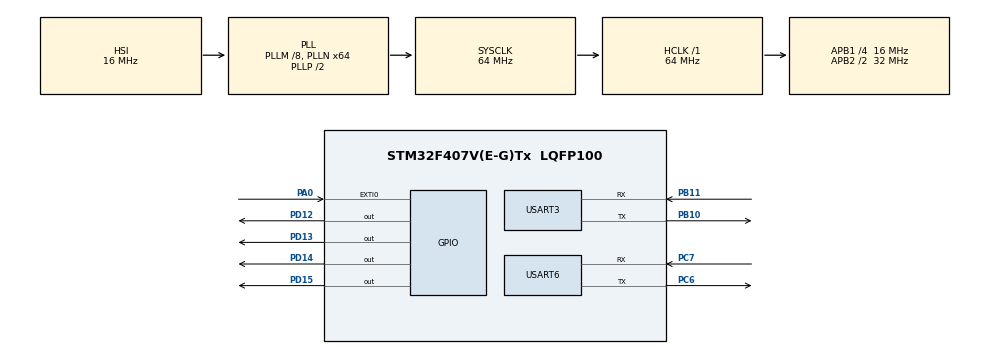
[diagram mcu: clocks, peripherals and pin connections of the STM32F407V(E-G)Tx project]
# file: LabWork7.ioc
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Mcu.Family=STM32F4
Mcu.Name=STM32F407V(E-G)Tx
Mcu.Package=LQFP100
NVIC.PriorityGroup=NVIC_PRIORITYGROUP_0
NVIC.TIM2_IRQn=true\:0\:0\:false\:true\:true\:3\:true\:true\:true
NVIC.USART3_IRQn=true\:0\:0\:false\:true\:true\:2\:true\:true\:true
NVIC.USART6_IRQn=true\:0\:0\:false\:true\:true\:1\:true\:true\:true
PA0-WKUP.Signal=GPXTI0
PB10.Mode=Asynchronous
PB10.Signal=USART3_TX
PB11.Mode=Asynchronous
PB11.Signal=USART3_RX
PC6.Mode=Asynchronous
PC6.Signal=USART6_TX
PC7.Mode=Asynchronous
PC7.Signal=USART6_RX
PD12.Signal=GPIO_Output
PD13.Signal=GPIO_Output
PD14.Signal=GPIO_Output
PD15.Signal=GPIO_Output
ProjectManager.HeapSize=0x200
ProjectManager.StackSize=0x400
ProjectManager.TargetToolchain=STM32CubeIDE
RCC.48MHZClocksFreq_Value=18285714.285714287
RCC.AHBFreq_Value=64000000
RCC.APB1CLKDivider=RCC_HCLK_DIV4
RCC.APB1Freq_Value=16000000
RCC.APB1TimFreq_Value=32000000
RCC.APB2CLKDivider=RCC_HCLK_DIV2
RCC.APB2Freq_Value=32000000
RCC.APB2TimFreq_Value=64000000
RCC.CortexFreq_Value=64000000
RCC.HCLKFreq_Value=64000000
RCC.HSE_VALUE=8000000
RCC.HSI_VALUE=16000000
RCC.PLLM=8
RCC.PLLN=64
RCC.PLLQ=7
RCC.SYSCLKFreq_VALUE=64000000
RCC.SYSCLKSource=RCC_SYSCLKSOURCE_PLLCLK
RCC.VCOOutputFreq_Value=128000000
TIM2.Period=2000
TIM2.Prescaler=16000
USART3.VirtualMode=VM_ASYNC
USART6.VirtualMode=VM_ASYNC
VP_TIM2_VS_ClockSourceINT.Mode=Internal
board=STM32F407G-DISC1

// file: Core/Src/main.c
/* USER CODE BEGIN Header */
/**
  ******************************************************************************
  * @file           : main.c
  * @brief          : Main program body
  ******************************************************************************
  * @attention
  *
  * Copyright (c) 2024 STMicroelectronics.
  * All rights reserved.
  *
  * This software is licensed under terms that can be found in the LICENSE file
  * in the root directory of this software component.
  * If no LICENSE file comes with this software, it is provided AS-IS.
  *
  ******************************************************************************
  */
/* USER CODE END Header */
#include "main.h"

TIM_HandleTypeDef htim2;

UART_HandleTypeDef huart3;
UART_HandleTypeDef huart6;

void SystemClock_Config(void);
static void MX_GPIO_Init(void);
static void MX_USART3_UART_Init(void);
static void MX_USART6_UART_Init(void);
static void MX_TIM2_Init(void);
static void MX_NVIC_Init(void);

int main(void)
{

  /* MCU Configuration--------------------------------------------------------*/

  /* Reset of all peripherals, Initializes the Flash interface and the Systick. */
  HAL_Init();

  /* Configure the system clock */
  SystemClock_Config();

  /* Initialize all configured peripherals */
  MX_GPIO_Init();
  MX_USART3_UART_Init();
  MX_USART6_UART_Init();
  MX_TIM2_Init();

  /* Initialize interrupts */
  MX_NVIC_Init();
  /* USER CODE BEGIN 2 */
  uint8_t txBuffer[4]= {0x00, 0x01, 0x03, 0x0F};
  uint8_t rxBuffer=0; // Buffer for received data
int send =0;
  /* USER CODE END 2 */
HAL_TIM_Base_Start_IT(&htim2);
int uzd=1;
  /* Infinite loop */
  /* USER CODE BEGIN WHILE */
  while (1)
  {
	  if(uzd==0){
		  if (send == 4){
			  send = 0;
		  }
		  HAL_UART_Transmit(&huart6, &txBuffer[send], 1, HAL_MAX_DELAY);
		  HAL_UART_Receive(&huart3, &rxBuffer, 1, 1000);
		  if (rxBuffer == 0x00){
		  		  HAL_GPIO_WritePin(GPIOD, GPIO_PIN_12, GPIO_PIN_SET);
		  		  HAL_GPIO_WritePin(GPIOD, GPIO_PIN_13, GPIO_PIN_RESET);
		  		  HAL_GPIO_WritePin(GPIOD, GPIO_PIN_14, GPIO_PIN_RESET);
		  		  HAL_GPIO_WritePin(GPIOD, GPIO_PIN_15, GPIO_PIN_RESET);
		  	  }
		  	  else if (rxBuffer == 0x01){
		  		  HAL_GPIO_WritePin(GPIOD, GPIO_PIN_12, GPIO_PIN_RESET);
		  		  HAL_GPIO_WritePin(GPIOD, GPIO_PIN_13, GPIO_PIN_SET);
		  		  HAL_GPIO_WritePin(GPIOD, GPIO_PIN_14, GPIO_PIN_RESET);
		  		  HAL_GPIO_WritePin(GPIOD, GPIO_PIN_15, GPIO_PIN_RESET);
		  	  }
		  	  else if (rxBuffer == 0x03){
		  	  	  HAL_GPIO_WritePin(GPIOD, GPIO_PIN_12, GPIO_PIN_RESET);
		  	  	  HAL_GPIO_WritePin(GPIOD, GPIO_PIN_13, GPIO_PIN_RESET);
		  	      HAL_GPIO_WritePin(GPIOD, GPIO_PIN_14, GPIO_PIN_SET);
		  	  	  HAL_GPIO_WritePin(GPIOD, GPIO_PIN_15, GPIO_PIN_RESET);
		  	  }
		  	  else if (rxBuffer == 0x0F){
		  	  	  HAL_GPIO_WritePin(GPIOD, GPIO_PIN_12, GPIO_PIN_RESET);
		  	  	  HAL_GPIO_WritePin(GPIOD, GPIO_PIN_13, GPIO_PIN_RESET);
		  	  	  HAL_GPIO_WritePin(GPIOD, GPIO_PIN_14, GPIO_PIN_RESET);
		  	  	  HAL_GPIO_WritePin(GPIOD, GPIO_PIN_15, GPIO_PIN_SET);
		  	  }
		  	  else{
		  		  HAL_GPIO_WritePin(GPIOD, GPIO_PIN_12, GPIO_PIN_SET);
		  		  HAL_GPIO_WritePin(GPIOD, GPIO_PIN_13, GPIO_PIN_SET);
		  		  HAL_GPIO_WritePin(GPIOD, GPIO_PIN_14, GPIO_PIN_SET);
		  		  HAL_GPIO_WritePin(GPIOD, GPIO_PIN_15, GPIO_PIN_SET);
		  	  }
		  	  send++;
		  	  HAL_Delay(1000);

	  }

    /* USER CODE END WHILE */

  }
}

void SystemClock_Config(void)
{
  RCC_OscInitTypeDef RCC_OscInitStruct = {0};
  RCC_ClkInitTypeDef RCC_ClkInitStruct = {0};

  /** Configure the main internal regulator output voltage
  */
  __HAL_RCC_PWR_CLK_ENABLE();
  __HAL_PWR_VOLTAGESCALING_CONFIG(PWR_REGULATOR_VOLTAGE_SCALE1);

  /** Initializes the RCC Oscillators according to the specified parameters
  * in the RCC_OscInitTypeDef structure.
  */
  RCC_OscInitStruct.OscillatorType = RCC_OSCILLATORTYPE_HSI;
  RCC_OscInitStruct.HSIState = RCC_HSI_ON;
  RCC_OscInitStruct.HSICalibrationValue = RCC_HSICALIBRATION_DEFAULT;
  RCC_OscInitStruct.PLL.PLLState = RCC_PLL_ON;
  RCC_OscInitStruct.PLL.PLLSource = RCC_PLLSOURCE_HSI;
  RCC_OscInitStruct.PLL.PLLM = 8;
  RCC_OscInitStruct.PLL.PLLN = 64;
  RCC_OscInitStruct.PLL.PLLP = RCC_PLLP_DIV2;
  RCC_OscInitStruct.PLL.PLLQ = 7;
  if (HAL_RCC_OscConfig(&RCC_OscInitStruct) != HAL_OK)
  {
    Error_Handler();
  }

  /** Initializes the CPU, AHB and APB buses clocks
  */
  RCC_ClkInitStruct.ClockType = RCC_CLOCKTYPE_HCLK|RCC_CLOCKTYPE_SYSCLK
                              |RCC_CLOCKTYPE_PCLK1|RCC_CLOCKTYPE_PCLK2;
  RCC_ClkInitStruct.SYSCLKSource = RCC_SYSCLKSOURCE_PLLCLK;
  RCC_ClkInitStruct.AHBCLKDivider = RCC_SYSCLK_DIV1;
  RCC_ClkInitStruct.APB1CLKDivider = RCC_HCLK_DIV4;
  RCC_ClkInitStruct.APB2CLKDivider = RCC_HCLK_DIV2;

  if (HAL_RCC_ClockConfig(&RCC_ClkInitStruct, FLASH_LATENCY_2) != HAL_OK)
  {
    Error_Handler();
  }
}

/**
  * @brief NVIC Configuration.
  * @retval None
  */
static void MX_NVIC_Init(void)
{
  /* USART6_IRQn interrupt configuration */
  HAL_NVIC_SetPriority(USART6_IRQn, 0, 0);
  HAL_NVIC_EnableIRQ(USART6_IRQn);
  /* USART3_IRQn interrupt configuration */
  HAL_NVIC_SetPriority(USART3_IRQn, 0, 0);
  HAL_NVIC_EnableIRQ(USART3_IRQn);
  /* TIM2_IRQn interrupt configuration */
  HAL_NVIC_SetPriority(TIM2_IRQn, 0, 0);
  HAL_NVIC_EnableIRQ(TIM2_IRQn);
}

static void MX_TIM2_Init(void)
{

  TIM_ClockConfigTypeDef sClockSourceConfig = {0};
  TIM_MasterConfigTypeDef sMasterConfig = {0};

  htim2.Instance = TIM2;
  htim2.Init.Prescaler = 16000;
  htim2.Init.CounterMode = TIM_COUNTERMODE_UP;
  htim2.Init.Period = 2000;
  htim2.Init.ClockDivision = TIM_CLOCKDIVISION_DIV1;
  htim2.Init.AutoReloadPreload = TIM_AUTORELOAD_PRELOAD_DISABLE;
  if (HAL_TIM_Base_Init(&htim2) != HAL_OK)
  {
    Error_Handler();
  }
  sClockSourceConfig.ClockSource = TIM_CLOCKSOURCE_INTERNAL;
  if (HAL_TIM_ConfigClockSource(&htim2, &sClockSourceConfig) != HAL_OK)
  {
    Error_Handler();
  }
  sMasterConfig.MasterOutputTrigger = TIM_TRGO_RESET;
  sMasterConfig.MasterSlaveMode = TIM_MASTERSLAVEMODE_DISABLE;
  if (HAL_TIMEx_MasterConfigSynchronization(&htim2, &sMasterConfig) != HAL_OK)
  {
    Error_Handler();
  }

}

static void MX_USART3_UART_Init(void)
{

  huart3.Instance = USART3;
  huart3.Init.BaudRate = 115200;
  huart3.Init.WordLength = UART_WORDLENGTH_8B;
  huart3.Init.StopBits = UART_STOPBITS_1;
  huart3.Init.Parity = UART_PARITY_NONE;
  huart3.Init.Mode = UART_MODE_TX_RX;
  huart3.Init.HwFlowCtl = UART_HWCONTROL_NONE;
  huart3.Init.OverSampling = UART_OVERSAMPLING_16;
  if (HAL_UART_Init(&huart3) != HAL_OK)
  {
    Error_Handler();
  }

}

static void MX_USART6_UART_Init(void)
{

  huart6.Instance = USART6;
  huart6.Init.BaudRate = 115200;
  huart6.Init.WordLength = UART_WORDLENGTH_8B;
  huart6.Init.StopBits = UART_STOPBITS_1;
  huart6.Init.Parity = UART_PARITY_NONE;
  huart6.Init.Mode = UART_MODE_TX_RX;
  huart6.Init.HwFlowCtl = UART_HWCONTROL_NONE;
  huart6.Init.OverSampling = UART_OVERSAMPLING_16;
  if (HAL_UART_Init(&huart6) != HAL_OK)
  {
    Error_Handler();
  }

}

static void MX_GPIO_Init(void)
{
  GPIO_InitTypeDef GPIO_InitStruct = {0};

  /* GPIO Ports Clock Enable */
  __HAL_RCC_GPIOA_CLK_ENABLE();
  __HAL_RCC_GPIOB_CLK_ENABLE();
  __HAL_RCC_GPIOD_CLK_ENABLE();
  __HAL_RCC_GPIOC_CLK_ENABLE();

  /*Configure GPIO pin Output Level */
  HAL_GPIO_WritePin(GPIOD, GPIO_PIN_12|GPIO_PIN_13|GPIO_PIN_14|GPIO_PIN_15, GPIO_PIN_RESET);

  /*Configure GPIO pin : PA0 */
  GPIO_InitStruct.Pin = GPIO_PIN_0;
  GPIO_InitStruct.Mode = GPIO_MODE_IT_RISING;
  GPIO_InitStruct.Pull = GPIO_NOPULL;
  HAL_GPIO_Init(GPIOA, &GPIO_InitStruct);

  /*Configure GPIO pins : PD12 PD13 PD14 PD15 */
  GPIO_InitStruct.Pin = GPIO_PIN_12|GPIO_PIN_13|GPIO_PIN_14|GPIO_PIN_15;
  GPIO_InitStruct.Mode = GPIO_MODE_OUTPUT_PP;
  GPIO_InitStruct.Pull = GPIO_NOPULL;
  GPIO_InitStruct.Speed = GPIO_SPEED_FREQ_LOW;
  HAL_GPIO_Init(GPIOD, &GPIO_InitStruct);

}

void Error_Handler(void)
{
  __disable_irq();
  while (1)
  {
  }
}
